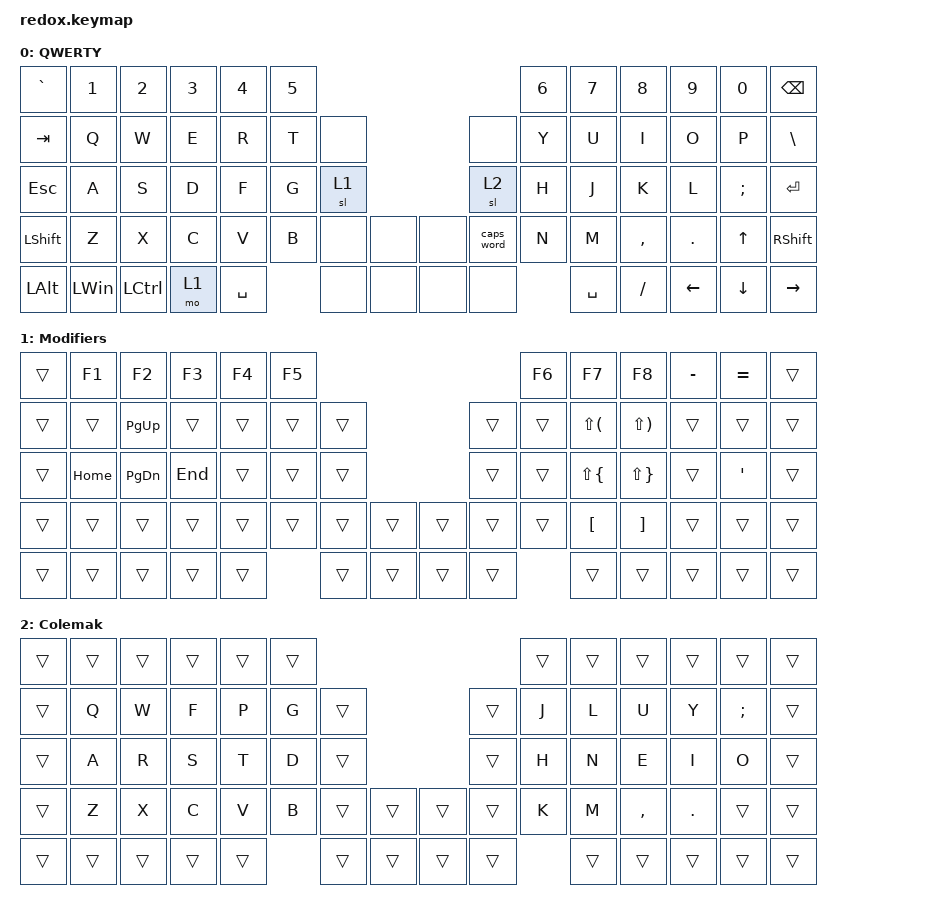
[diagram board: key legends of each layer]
/*
 * Copyright (c) 2021 The ZMK Contributors
 *
 * SPDX-License-Identifier: MIT
 */

#include <behaviors.dtsi>
#include <dt-bindings/zmk/keys.h>

/ {
    keymap {
        compatible = "zmk,keymap";

        qwerty {
            display-name = "QWERTY";

            // --------------------------------------------------------------------------------------------------------------------------------
            // | ESC   |  1  |  2  |   3   |  4  |  5  |                   ---                |  6    |  7    |  8    |  9   | 0  |    BSPC   |
            // | TAB   |  Q  |  W  |   E   |  R  |  T  |   (   |           ---        |  )    |  Y    |  U    |  I    |  O   | P  |     -     |
            // | CTRL  |  A  |  S  |   D   |  F  |  G  |   [   |           ---        |  ]    |  H    |  J    |  K    |  L   | ;  |     '     |
            // | SHIFT |  Z  |  X  |   C   |  V  |  B  | PG_UP | PG_DOWN | --- | HOME | END   |  N    |  M    |  ,    |  .   | /  | SHFT(RET) |
            // | CRTL  | ALT | GUI | LOWER |    GUI    | LOWER | SPACE   | --- | DEL  | SPACE |     RAISE     | LEFT  | DOWN | UP |   RIGHT   |

            bindings = <
&kp GRAVE     &kp N1        &kp N2     &kp N3  &kp N4     &kp N5                                     &kp N6  &kp N7     &kp N8     &kp N9          &kp N0        &kp BSPC
&kp TAB       &kp Q         &kp W      &kp E   &kp R      &kp T   &none                  &none       &kp Y   &kp U      &kp I      &kp O           &kp P         &kp BACKSLASH
&kp ESC       &kp A         &kp S      &kp D   &kp F      &kp G   &sl 1                  &sl 2       &kp H   &kp J      &kp K      &kp L           &kp SEMI      &kp ENTER
&kp LSHFT     &kp Z         &kp X      &kp C   &kp V      &kp B   &none  &none    &none  &caps_word  &kp N   &kp M      &kp COMMA  &kp DOT         &kp UP_ARROW  &kp RIGHT_SHIFT
&kp LEFT_ALT  &kp LEFT_WIN  &kp LCTRL  &mo 1   &kp SPACE          &none  &none    &none  &none               &kp SPACE  &kp SLASH  &kp LEFT_ARROW  &kp DOWN      &kp RIGHT
            >;
        };

        modifiers {
            bindings = <
&trans  &kp F1    &kp F2     &kp F3   &kp F4  &kp F5                                    &kp F6  &kp F7        &kp F8        &kp MINUS  &kp EQUAL  &trans
&trans  &trans    &kp PG_UP  &trans   &trans  &trans  &trans                    &trans  &trans  &kp LS(LPAR)  &kp LS(RPAR)  &trans     &trans     &trans
&trans  &kp HOME  &kp PG_DN  &kp END  &trans  &trans  &trans                    &trans  &trans  &kp LS(LBRC)  &kp LS(RBRC)  &trans     &kp SQT    &trans
&trans  &trans    &trans     &trans   &trans  &trans  &trans  &trans    &trans  &trans  &trans  &kp LBKT      &kp RBKT      &trans     &trans     &trans
&trans  &trans    &trans     &trans   &trans          &trans  &trans    &trans  &trans          &trans        &trans        &trans     &trans     &trans
            >;

            label = "Modifiers";
        };

        colemak {
            bindings = <
&trans  &trans  &trans  &trans  &trans  &trans                                    &trans  &trans  &trans     &trans   &trans    &trans
&trans  &kp Q   &kp W   &kp F   &kp P   &kp G   &trans                    &trans  &kp J   &kp L   &kp U      &kp Y    &kp SEMI  &trans
&trans  &kp A   &kp R   &kp S   &kp T   &kp D   &trans                    &trans  &kp H   &kp N   &kp E      &kp I    &kp O     &trans
&trans  &kp Z   &kp X   &kp C   &kp V   &kp B   &trans  &trans    &trans  &trans  &kp K   &kp M   &kp COMMA  &kp DOT  &trans    &trans
&trans  &trans  &trans  &trans  &trans          &trans  &trans    &trans  &trans          &trans  &trans     &trans   &trans    &trans
            >;

            label = "Colemak";
        };
    };
};
